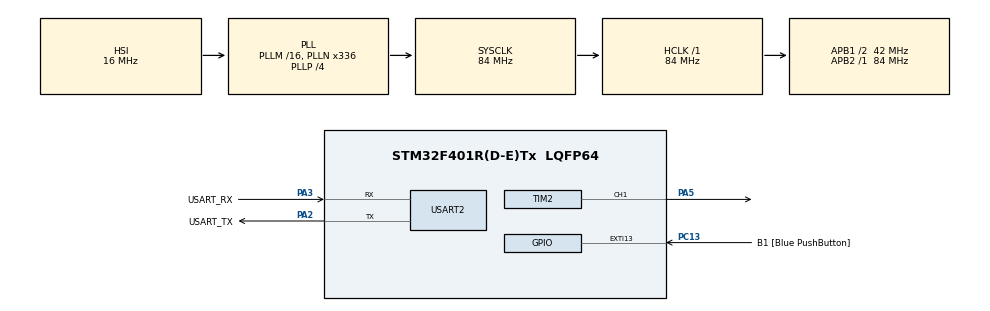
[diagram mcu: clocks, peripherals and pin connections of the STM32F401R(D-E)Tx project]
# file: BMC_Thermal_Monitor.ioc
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ADC1.Channel-0\#ChannelRegularConversion=ADC_CHANNEL_TEMPSENSOR
ADC1.NbrOfConversionFlag=1
ADC1.Rank-0\#ChannelRegularConversion=1
ADC1.SamplingTime-0\#ChannelRegularConversion=ADC_SAMPLETIME_3CYCLES
ADC1.master=1
Mcu.Family=STM32F4
Mcu.Name=STM32F401R(D-E)Tx
Mcu.Package=LQFP64
NVIC.PriorityGroup=NVIC_PRIORITYGROUP_4
NVIC.USART2_IRQn=true\:0\:0\:false\:false\:true\:true\:true\:true
PA13.GPIO_Label=TMS
PA13.Mode=Trace_Asynchronous_SW
PA13.Signal=SYS_JTMS-SWDIO
PA14.GPIO_Label=TCK
PA14.Mode=Trace_Asynchronous_SW
PA14.Signal=SYS_JTCK-SWCLK
PA2.GPIO_Label=USART_TX
PA2.GPIO_Mode=GPIO_MODE_AF_PP
PA2.GPIO_PuPd=GPIO_NOPULL
PA2.GPIO_Speed=GPIO_SPEED_FREQ_LOW
PA2.Mode=Asynchronous
PA2.Signal=USART2_TX
PA3.GPIO_Label=USART_RX
PA3.GPIO_Mode=GPIO_MODE_AF_PP
PA3.GPIO_PuPd=GPIO_NOPULL
PA3.GPIO_Speed=GPIO_SPEED_FREQ_LOW
PA3.Mode=Asynchronous
PA3.Signal=USART2_RX
PA5.Signal=S_TIM2_CH1_ETR
PB3.GPIO_Label=SWO
PB3.Mode=Trace_Asynchronous_SW
PB3.Signal=SYS_JTDO-SWO
PC13-ANTI_TAMP.GPIO_Label=B1 [Blue PushButton]
PC13-ANTI_TAMP.GPIO_ModeDefaultEXTI=GPIO_MODE_IT_FALLING
PC13-ANTI_TAMP.GPIO_PuPd=GPIO_NOPULL
PC13-ANTI_TAMP.Signal=GPXTI13
PC14-OSC32_IN.Mode=LSE-External-Oscillator
PC14-OSC32_IN.Signal=RCC_OSC32_IN
PC15-OSC32_OUT.Mode=LSE-External-Oscillator
PC15-OSC32_OUT.Signal=RCC_OSC32_OUT
PH0\ -\ OSC_IN.Mode=HSE-External-Clock-Source
PH0\ -\ OSC_IN.Signal=RCC_OSC_IN
PH1\ -\ OSC_OUT.Mode=HSE-External-Clock-Source
PH1\ -\ OSC_OUT.Signal=RCC_OSC_OUT
ProjectManager.HeapSize=0x200
ProjectManager.StackSize=0x400
ProjectManager.TargetToolchain=STM32CubeIDE
RCC.48MHZClocksFreq_Value=48000000
RCC.AHBFreq_Value=84000000
RCC.APB1CLKDivider=RCC_HCLK_DIV2
RCC.APB1Freq_Value=42000000
RCC.APB1TimFreq_Value=84000000
RCC.APB2Freq_Value=84000000
RCC.APB2TimFreq_Value=84000000
RCC.CortexFreq_Value=84000000
RCC.HCLKFreq_Value=84000000
RCC.HSE_VALUE=8000000
RCC.HSI_VALUE=16000000
RCC.PLLN=336
RCC.PLLP=RCC_PLLP_DIV4
RCC.PLLQ=7
RCC.SYSCLKFreq_VALUE=84000000
RCC.SYSCLKSource=RCC_SYSCLKSOURCE_PLLCLK
RCC.VCOOutputFreq_Value=336000000
SH.S_TIM2_CH1_ETR.0=TIM2_CH1,PWM Generation1 CH1
TIM2.Channel-PWM\ Generation1\ CH1=TIM_CHANNEL_1
TIM2.Period=100-1
TIM2.Prescaler=84-1
USART2.VirtualMode=VM_ASYNC
VP_ADC1_TempSens_Input.Mode=IN-TempSens
board=NUCLEO-F401RE

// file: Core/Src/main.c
/* USER CODE BEGIN Header */
/**
  ******************************************************************************
  * @file           : main.c
  * @brief          : Main program body
  ******************************************************************************
  * @attention
  *
  * Copyright (c) 2026 STMicroelectronics.
  * All rights reserved.
  *
  * This software is licensed under terms that can be found in the LICENSE file
  * in the root directory of this software component.
  * If no LICENSE file comes with this software, it is provided AS-IS.
  *
  ******************************************************************************
  */
/* USER CODE END Header */
#include "main.h"
#include "adc.h"
#include "tim.h"
#include "usart.h"
#include "gpio.h"

/* USER CODE BEGIN PTD */
// 定義封包結構 (總共 5 Bytes)
// __attribute__((packed)) 是為了讓變數緊密排列，不要有空隙
typedef struct __attribute__((packed)) {
    uint8_t header;   // 固定 0xAA (起始 byte)
    uint8_t cmd;      // 指令類型
    uint8_t len;      // 資料長度
    uint8_t data;     // 資料本體 (例如溫度)
    uint8_t checksum; // 檢查碼 (確保資料沒傳錯)
} BmcPacket;
/* USER CODE END PTD */

/* USER CODE BEGIN PV */
uint8_t duty_cycle = 0; // 測試變數 duyt_cycle 是佔空比(亮度or轉速)
int8_t step = 1;        //step 是步伐(每一次加多少)用於控制duyt_cycle
uint8_t rx_byte;        // 用來存收到的一個 byte
/* USER CODE END PV */

void SystemClock_Config(void);
/* USER CODE BEGIN PFP */
// 告訴編譯器：下面會有一個叫做 calculate_checksum 的函式
uint8_t calculate_checksum(BmcPacket *pkt);
/* USER CODE END PFP */

int main(void)
{

  /* MCU Configuration--------------------------------------------------------*/

  /* Reset of all peripherals, Initializes the Flash interface and the Systick. */
  HAL_Init();

  /* Configure the system clock */
  SystemClock_Config();

  /* Initialize all configured peripherals */
  MX_GPIO_Init();
  MX_USART2_UART_Init();
  MX_ADC1_Init();
  MX_TIM2_Init();
  /* USER CODE BEGIN 2 */
  // 1. 啟動 PWM (控制 LED)
    HAL_TIM_PWM_Start(&htim2, TIM_CHANNEL_1);

  // 2. 啟動 ADC (讀溫度，先開起來)
  HAL_ADC_Start(&hadc1);

  // 啟動接收中斷，告訴 MCU：準備收 1 個 byte，收到後存在 rx_byte
  HAL_UART_Receive_IT(&huart2, &rx_byte, 1);

  // 測試 BMC 是否活著
  // char msg[] = "BMC Alive\r\n";
  // HAL_UART_Transmit(&huart2, (uint8_t*)msg, sizeof(msg)-1, 100);

  /* USER CODE END 2 */

  /* Infinite loop */
  while (1)
  {

    /* USER CODE BEGIN 3 */
	  // --- 1. 呼吸燈 PWM ---
	  __HAL_TIM_SET_COMPARE(&htim2, TIM_CHANNEL_1, duty_cycle);
	  duty_cycle += step;
	  if (duty_cycle >= 100 || duty_cycle <= 0) step = -step;

	  // --- 2. 準備封包 ---
	  BmcPacket tx_packet;
	  tx_packet.header = 0xAA;      // 定義的開頭識別碼
	  tx_packet.cmd    = 0x01;      // 0x01 代表這是「溫度資料」
	  tx_packet.len    = 0x01;      // 資料長度 1 byte
	  // 這裡用 duty_cycle 當作假溫度(0~100度)，會看到溫度隨著燈光亮度一起變
	  tx_packet.data   = duty_cycle;
	  // 計算檢查碼
	  tx_packet.checksum = calculate_checksum(&tx_packet);

	  // --- 3. 發送二進位封包 ---
	  // 注意轉型 (uint8_t*)，我們要送原始的byte
	  HAL_UART_Transmit(&huart2, (uint8_t*)&tx_packet, sizeof(BmcPacket), 10);

	  // --- 4. Delay變慢一點，方便觀察(改成 500ms 或 1000ms)，這裡設定0.1秒---
	  HAL_Delay(100);
  }
  /* USER CODE END 3 */
}

void SystemClock_Config(void)
{
  RCC_OscInitTypeDef RCC_OscInitStruct = {0};
  RCC_ClkInitTypeDef RCC_ClkInitStruct = {0};

  /** Configure the main internal regulator output voltage
  */
  __HAL_RCC_PWR_CLK_ENABLE();
  __HAL_PWR_VOLTAGESCALING_CONFIG(PWR_REGULATOR_VOLTAGE_SCALE2);

  /** Initializes the RCC Oscillators according to the specified parameters
  * in the RCC_OscInitTypeDef structure.
  */
  RCC_OscInitStruct.OscillatorType = RCC_OSCILLATORTYPE_HSI;
  RCC_OscInitStruct.HSIState = RCC_HSI_ON;
  RCC_OscInitStruct.HSICalibrationValue = RCC_HSICALIBRATION_DEFAULT;
  RCC_OscInitStruct.PLL.PLLState = RCC_PLL_ON;
  RCC_OscInitStruct.PLL.PLLSource = RCC_PLLSOURCE_HSI;
  RCC_OscInitStruct.PLL.PLLM = 16;
  RCC_OscInitStruct.PLL.PLLN = 336;
  RCC_OscInitStruct.PLL.PLLP = RCC_PLLP_DIV4;
  RCC_OscInitStruct.PLL.PLLQ = 7;
  if (HAL_RCC_OscConfig(&RCC_OscInitStruct) != HAL_OK)
  {
    Error_Handler();
  }

  /** Initializes the CPU, AHB and APB buses clocks
  */
  RCC_ClkInitStruct.ClockType = RCC_CLOCKTYPE_HCLK|RCC_CLOCKTYPE_SYSCLK
                              |RCC_CLOCKTYPE_PCLK1|RCC_CLOCKTYPE_PCLK2;
  RCC_ClkInitStruct.SYSCLKSource = RCC_SYSCLKSOURCE_PLLCLK;
  RCC_ClkInitStruct.AHBCLKDivider = RCC_SYSCLK_DIV1;
  RCC_ClkInitStruct.APB1CLKDivider = RCC_HCLK_DIV2;
  RCC_ClkInitStruct.APB2CLKDivider = RCC_HCLK_DIV1;

  if (HAL_RCC_ClockConfig(&RCC_ClkInitStruct, FLASH_LATENCY_2) != HAL_OK)
  {
    Error_Handler();
  }
}

/* USER CODE BEGIN 4 */
//這是 HAL 庫標準的接收完成回調函式
//當硬體真的收到資料（中斷發生）時，CPU 會暫停手邊的工作，跳進來執行這個函式。
void HAL_UART_RxCpltCallback(UART_HandleTypeDef *huart)
{
  if (huart->Instance == USART2) // 確認是否來自 USART2
  {
    // 如果收到 'R' (Reset)，就把亮度歸零
    if (rx_byte == 'R' || rx_byte == 'r') {
    	duty_cycle = 0; //歸零佔空比
    	step = 1; // 順便確保方向是「變亮」
        // 直接重設 TIM2 的 Counter，把計數器歸零
        __HAL_TIM_SET_COUNTER(&htim2, 0);
    }
    // 收到指令後，要「再次啟動」。
    HAL_UART_Receive_IT(&huart2, &rx_byte, 1);
  }
}
// 計算 Checksum 的函式 ( XOR 演算法)
uint8_t calculate_checksum(BmcPacket *pkt) {
    // 算法：Header ^ Cmd ^ Len ^ Data
    return (pkt->header ^ pkt->cmd ^ pkt->len ^ pkt->data);
}
/* USER CODE END 4 */

void Error_Handler(void)
{
  __disable_irq();
  while (1)
  {
  }
}
